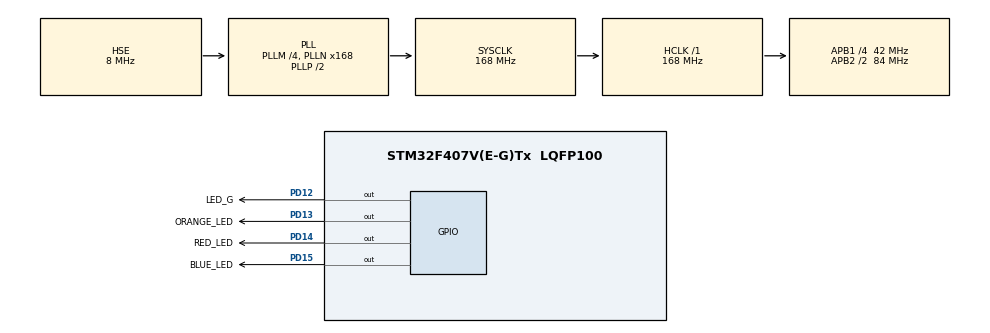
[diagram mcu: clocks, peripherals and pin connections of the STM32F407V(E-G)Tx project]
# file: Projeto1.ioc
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Mcu.Family=STM32F4
Mcu.Name=STM32F407V(E-G)Tx
Mcu.Package=LQFP100
NVIC.PriorityGroup=NVIC_PRIORITYGROUP_4
PA13.Mode=Serial_Wire
PA13.Signal=SYS_JTMS-SWDIO
PA14.Mode=Serial_Wire
PA14.Signal=SYS_JTCK-SWCLK
PD12.GPIO_Label=LED_G
PD12.Signal=GPIO_Output
PD13.GPIO_Label=ORANGE_LED
PD13.Signal=GPIO_Output
PD14.GPIO_Label=RED_LED
PD14.Signal=GPIO_Output
PD15.GPIO_Label=BLUE_LED
PD15.Signal=GPIO_Output
PH0-OSC_IN.Mode=HSE-External-Oscillator
PH0-OSC_IN.Signal=RCC_OSC_IN
PH1-OSC_OUT.Mode=HSE-External-Oscillator
PH1-OSC_OUT.Signal=RCC_OSC_OUT
ProjectManager.HeapSize=0x200
ProjectManager.StackSize=0x400
ProjectManager.TargetToolchain=STM32CubeIDE
RCC.48MHZClocksFreq_Value=84000000
RCC.AHBFreq_Value=168000000
RCC.APB1CLKDivider=RCC_HCLK_DIV4
RCC.APB1Freq_Value=42000000
RCC.APB1TimFreq_Value=84000000
RCC.APB2CLKDivider=RCC_HCLK_DIV2
RCC.APB2Freq_Value=84000000
RCC.APB2TimFreq_Value=168000000
RCC.CortexFreq_Value=168000000
RCC.HCLKFreq_Value=168000000
RCC.HSE_VALUE=8000000
RCC.HSI_VALUE=16000000
RCC.LSE_VALUE=32768
RCC.PLLM=4
RCC.PLLN=168
RCC.PLLSourceVirtual=RCC_PLLSOURCE_HSE
RCC.SYSCLKFreq_VALUE=168000000
RCC.SYSCLKSource=RCC_SYSCLKSOURCE_PLLCLK
RCC.VCOOutputFreq_Value=336000000
board=custom

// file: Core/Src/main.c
/* USER CODE BEGIN Header */
/**
  ******************************************************************************
  * @file           : main.c
  * @brief          : Main program body
  ******************************************************************************
  * @attention
  *
  * Copyright (c) 2026 STMicroelectronics.
  * All rights reserved.
  *
  * This software is licensed under terms that can be found in the LICENSE file
  * in the root directory of this software component.
  * If no LICENSE file comes with this software, it is provided AS-IS.
  *
  ******************************************************************************
  */
/* USER CODE END Header */
#include "main.h"
#include "gpio.h"

/* USER CODE BEGIN PTD */
typedef enum
{
	False = 0,
	True = 1
}type_bool;

typedef enum
{
	inactive = 0,
	active   = 1
}type_active_inactive;

typedef struct
{
	uint32_t t_initial;
	uint32_t t_atual;
	uint32_t t_lapse;
}type_Soft_Timer;

typedef struct
{
	type_Soft_Timer timer;
	float duty_cycle;
	uint32_t t_period;
	uint32_t t_active;
	uint32_t t_inactive;
	type_active_inactive state;
	GPIO_TypeDef* port;
	uint16_t pin;
}type_PWM;

/* USER CODE END PTD */

/* USER CODE BEGIN PV */

/*uint32_t t_initial;
uint32_t t_atual;
uint32_t t_lapse;
uint32_t t_lapse2;
uint32_t t_initial2;
uint32_t t_atual2;*/

type_Soft_Timer timer_RED, timer_BLUE;

/* USER CODE END PV */

void SystemClock_Config(void);
/* USER CODE BEGIN PFP */

type_bool ST_run(type_Soft_Timer* ptimer);
void ST_initialize(type_Soft_Timer* ptimer, uint32_t tlapse);
void ST_lapse(type_Soft_Timer* ptimer);
void ST_def_lapse(type_Soft_Timer* ptimer, uint32_t tlapse);

type_PWM pwm_orange;

type_Soft_Timer timer_U;
float duty_cycle_U;
type_bool flag_increase_U;

void PWM_run(type_PWM* pwm);

void PWM_update(type_PWM* pwm);

	///////PWM Professor///////
void PWM_initialize(type_PWM* pwm, GPIO_TypeDef* port, uint16_t pin,
	uint32_t t_period, float duty_cycle);

void PWM_def_parameters(type_PWM* pwm, uint32_t t_period, float duty_cycle);
	///////PWM Professor///////

/* USER CODE END PFP */

int main(void)
{

  /* MCU Configuration--------------------------------------------------------*/

  /* Reset of all peripherals, Initializes the Flash interface and the Systick. */
  HAL_Init();

  /* Configure the system clock */
  SystemClock_Config();

  /* Initialize all configured peripherals */
  MX_GPIO_Init();
  /* USER CODE BEGIN 2 */

		ST_initialize(&timer_RED, 500);
		ST_initialize(&timer_BLUE, 625);
		ST_initialize(&timer_U, 1000);

		duty_cycle_U = 0.0f;
		flag_increase_U = True;

		//////////// PWM PROFESSOR ///////////////

		PWM_initialize(&pwm_orange, ORANGE_LED_GPIO_Port, ORANGE_LED_Pin, 1000, 0.2f);

		//////////// PWM PROFESSOR ///////////////

		//HAL_GPIO_WritePin(LED_G_GPIO_Port, LED_G_Pin, GPIO_PIN_SET);
		//HAL_GPIO_WritePin(RED_LED_GPIO_Port, RED_LED_Pin, GPIO_PIN_SET);
		//HAL_GPIO_WritePin(BLUE_LED_GPIO_Port, BLUE_LED_Pin, GPIO_PIN_SET);

  /* USER CODE END 2 */

  /* Infinite loop */
		while (1)
		{

    /* USER CODE BEGIN 3 */

			if (ST_run(&timer_BLUE))
			{
				HAL_GPIO_TogglePin(BLUE_LED_GPIO_Port, BLUE_LED_Pin);
				ST_lapse(&timer_BLUE);
			}
#if 0
			if (ST_run(&timer_RED))
			{
				HAL_GPIO_TogglePin(RED_LED_GPIO_Port, RED_LED_Pin);
				ST_lapse(&timer_RED);
			}

			if (ST_run(&timer_U))
			{
				ST_lapse(&timer_U);
				if (flag_increase_U)
				{
					duty_cycle_U += 0.2f;
					if (duty_cycle_U >= 1.0f)
					{
						duty_cycle_U = 1.0f;
						flag_increase_U = False;
					}
				}
				else
				{
					duty_cycle_U -= 0.2f;
					if (duty_cycle_U <= 0.0f)
					{
						duty_cycle_U = 0.0f;
						flag_increase_U = True;
					}
				}

				PWM_def_parameters(&pwm_orange, 1000, duty_cycle_U);
			}
#endif
			PWM_run(&pwm_orange);

		}
  /* USER CODE END 3 */
}

void SystemClock_Config(void)
{
  RCC_OscInitTypeDef RCC_OscInitStruct = {0};
  RCC_ClkInitTypeDef RCC_ClkInitStruct = {0};

  /** Configure the main internal regulator output voltage
  */
  __HAL_RCC_PWR_CLK_ENABLE();
  __HAL_PWR_VOLTAGESCALING_CONFIG(PWR_REGULATOR_VOLTAGE_SCALE1);

  /** Initializes the RCC Oscillators according to the specified parameters
  * in the RCC_OscInitTypeDef structure.
  */
  RCC_OscInitStruct.OscillatorType = RCC_OSCILLATORTYPE_HSE;
  RCC_OscInitStruct.HSEState = RCC_HSE_ON;
  RCC_OscInitStruct.PLL.PLLState = RCC_PLL_ON;
  RCC_OscInitStruct.PLL.PLLSource = RCC_PLLSOURCE_HSE;
  RCC_OscInitStruct.PLL.PLLM = 4;
  RCC_OscInitStruct.PLL.PLLN = 168;
  RCC_OscInitStruct.PLL.PLLP = RCC_PLLP_DIV2;
  RCC_OscInitStruct.PLL.PLLQ = 4;
  if (HAL_RCC_OscConfig(&RCC_OscInitStruct) != HAL_OK)
  {
    Error_Handler();
  }

  /** Initializes the CPU, AHB and APB buses clocks
  */
  RCC_ClkInitStruct.ClockType = RCC_CLOCKTYPE_HCLK|RCC_CLOCKTYPE_SYSCLK
                              |RCC_CLOCKTYPE_PCLK1|RCC_CLOCKTYPE_PCLK2;
  RCC_ClkInitStruct.SYSCLKSource = RCC_SYSCLKSOURCE_PLLCLK;
  RCC_ClkInitStruct.AHBCLKDivider = RCC_SYSCLK_DIV1;
  RCC_ClkInitStruct.APB1CLKDivider = RCC_HCLK_DIV4;
  RCC_ClkInitStruct.APB2CLKDivider = RCC_HCLK_DIV2;

  if (HAL_RCC_ClockConfig(&RCC_ClkInitStruct, FLASH_LATENCY_5) != HAL_OK)
  {
    Error_Handler();
  }
}

/* USER CODE BEGIN 4 */

	type_bool ST_run(type_Soft_Timer* ptimer)
	{
		ptimer->t_atual = HAL_GetTick();
		if ((ptimer->t_atual - ptimer->t_initial) >= ptimer->t_lapse)
			return True;
		else
			return False;
	}
	void ST_initialize(type_Soft_Timer* ptimer, uint32_t tlapse)
	{
		ptimer->t_atual = HAL_GetTick();
		ptimer->t_initial = ptimer->t_atual;
		ptimer->t_lapse = tlapse;
	}
	void ST_lapse(type_Soft_Timer* ptimer)
	{
		ptimer->t_initial += ptimer->t_lapse;
	}

	void ST_def_lapse(type_Soft_Timer* ptimer, uint32_t tlapse)
	{
		ptimer->t_lapse = tlapse;
	}

	void PWM_run(type_PWM* pwm)
	{
		if (ST_run(&pwm->timer))
		{
			if (pwm->state)
			{
				// Ativo
				HAL_GPIO_WritePin(pwm->port, pwm->pin, GPIO_PIN_RESET);
				ST_def_lapse(&pwm->timer, pwm->t_inactive);
				ST_lapse(&pwm->timer);
				pwm->state = inactive;
			}
			else
			{
				//Inativo
				HAL_GPIO_WritePin(pwm->port, pwm->pin, GPIO_PIN_SET);
				ST_def_lapse(&pwm->timer, pwm->t_active);
				ST_lapse(&pwm->timer);
				pwm->state = active;
			}
		}

	}
	void PWM_initialize(type_PWM* pwm, GPIO_TypeDef* port, uint16_t pin,
						uint32_t t_period, float duty_cycle)
	{
		PWM_def_parameters(pwm, t_period, duty_cycle);
		pwm->port = port;
		pwm->pin = pin;
		pwm->state = active;
		HAL_GPIO_WritePin(pwm->port, pwm->pin, GPIO_PIN_SET);
		ST_initialize(&(pwm->timer), pwm->t_active);
	}

	void PWM_def_parameters(type_PWM* pwm, uint32_t t_period, float duty_cycle)
	{
		if (duty_cycle <= 0.0f)
		{
			pwm->duty_cycle = 0.0f;
		}
		else if (duty_cycle >= 1.0f)
		{
			pwm->duty_cycle = 1.0f;
		}
		else
		{
			pwm->duty_cycle = duty_cycle;
		}
		pwm->t_period = t_period;
		pwm->t_active = (uint32_t)(pwm->duty_cycle * pwm->t_period);
		pwm->t_inactive = pwm->t_period - pwm->t_active;

	}

	///////PWM Professor///////

/* USER CODE END 4 */

void Error_Handler(void)
{
		__disable_irq();
		while (1)
		{
		}
}
